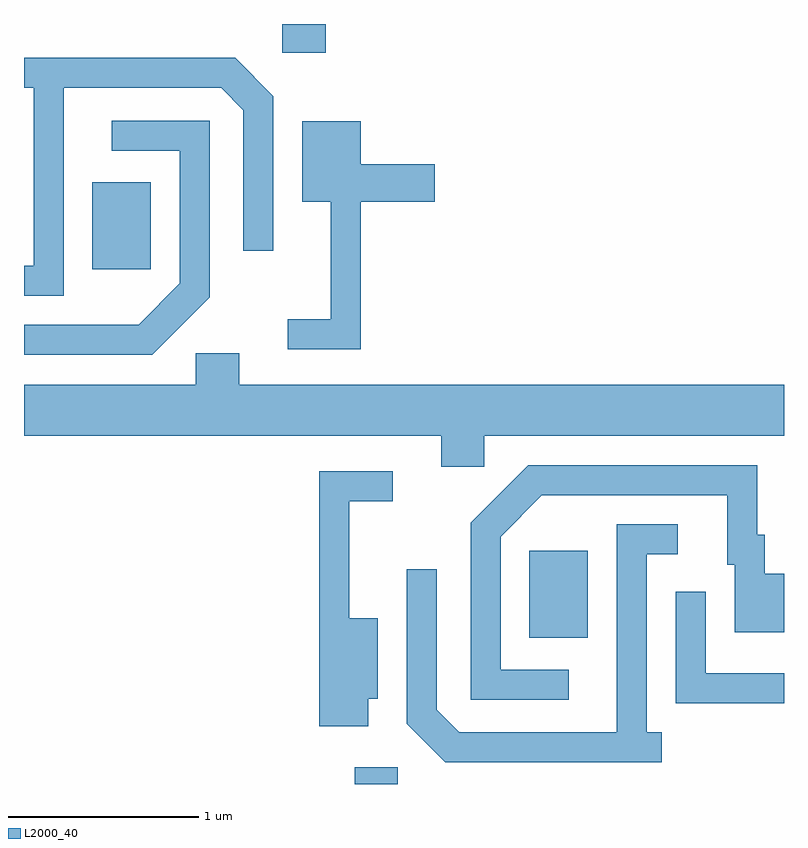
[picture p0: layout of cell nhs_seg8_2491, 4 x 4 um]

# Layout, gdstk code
import gdstk
lib = gdstk.Library(unit=1e-6, precision=1e-09)
def R(c, l, rs):  # rectangles x0, y0, x1, y1
    for r in rs: c.add(gdstk.rectangle(r[:2], r[2:], *l))
def P(c, l, *ps):  # polygons
    for p in ps: c.add(gdstk.Polygon(p, *l))
L2000_40 = (2000, 40)

nhs_seg8_2491 = lib.new_cell('nhs_seg8_2491')
R(nhs_seg8_2491, L2000_40, [(261.351,1852.342,261.579,1852.429), (262.271,1853.111,262.579,1853.569), (259.971,1855.051,260.279,1855.509), (260.971,1856.191,261.199,1856.342)])
P(nhs_seg8_2491, L2000_40, [(259.819,1856.006),(260.649,1856.006),(260.766,1855.889),(260.766,1855.148),(260.924,1855.148),(260.924,1855.962),(260.722,1856.164),(259.611,1856.164),(259.611,1856.006),(259.661,1856.006),(259.661,1855.069),(259.611,1855.069),(259.611,1854.911),(259.819,1854.911)],
  [(260.589,1854.904),(260.589,1855.834),(260.073,1855.834),(260.073,1855.676),(260.431,1855.676),(260.431,1854.977),(260.214,1854.759),(259.611,1854.759),(259.611,1854.601),(260.287,1854.601)],
  [(261.384,1855.406),(261.774,1855.406),(261.774,1855.604),(261.384,1855.604),(261.384,1855.829),(261.076,1855.829),(261.076,1855.406),(261.226,1855.406),(261.226,1854.789),(260.998,1854.789),(260.998,1854.631),(261.384,1854.631)],
  [(262.034,1854.176),(263.611,1854.176),(263.611,1854.444),(260.744,1854.444),(260.744,1854.609),(260.516,1854.609),(260.516,1854.444),(259.611,1854.444),(259.611,1854.176),(261.806,1854.176),(261.806,1854.011),(262.034,1854.011)],
  [(262.478,1852.944),(262.119,1852.944),(262.119,1853.644),(262.337,1853.861),(263.311,1853.861),(263.311,1853.496),(263.351,1853.496),(263.351,1853.141),(263.611,1853.141),(263.611,1853.449),(263.509,1853.449),(263.509,1853.654),(263.469,1853.654),(263.469,1854.019),(262.264,1854.019),(261.961,1853.717),(261.961,1852.786),(262.478,1852.786)],
  [(261.424,1852.791),(261.474,1852.791),(261.474,1853.214),(261.324,1853.214),(261.324,1853.831),(261.553,1853.831),(261.553,1853.989),(261.166,1853.989),(261.166,1852.646),(261.424,1852.646)],
  [(262.968,1852.614),(262.889,1852.614),(262.889,1853.551),(263.053,1853.551),(263.053,1853.709),(262.731,1853.709),(262.731,1852.614),(261.902,1852.614),(261.784,1852.732),(261.784,1853.473),(261.626,1853.473),(261.626,1852.659),(261.829,1852.456),(262.968,1852.456)],
  [(263.611,1852.924),(263.199,1852.924),(263.199,1853.353),(263.041,1853.353),(263.041,1852.766),(263.611,1852.766)])

lib.write_gds('nhs_seg8_2491.gds')
